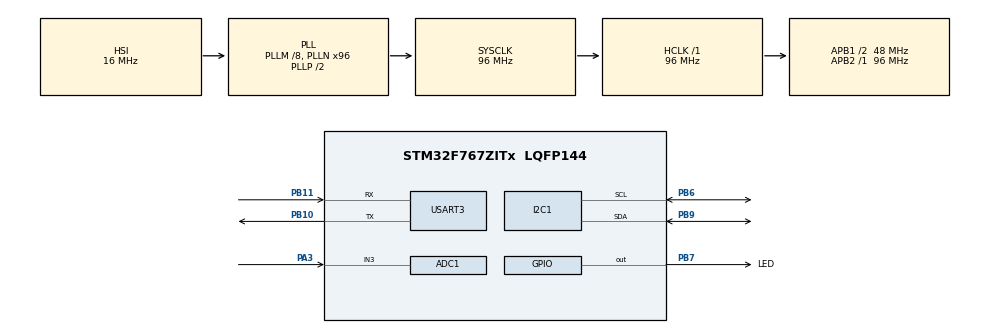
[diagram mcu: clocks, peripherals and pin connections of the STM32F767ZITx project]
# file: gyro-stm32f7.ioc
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ADC1.Channel-3\#ChannelRegularConversion=ADC_CHANNEL_3
ADC1.NbrOfConversionFlag=1
ADC1.Rank-3\#ChannelRegularConversion=1
ADC1.SamplingTime-3\#ChannelRegularConversion=ADC_SAMPLETIME_3CYCLES
ADC1.master=1
I2C1.Analog_Filter=I2C_ANALOGFILTER_ENABLE
I2C1.Timing=0x20303E5D
Mcu.Family=STM32F7
Mcu.Name=STM32F767ZITx
Mcu.Package=LQFP144
NVIC.ADC_IRQn=true\:0\:0\:false\:false\:true\:true\:true
NVIC.PriorityGroup=NVIC_PRIORITYGROUP_4
NVIC.TIM7_IRQn=true\:0\:0\:false\:false\:true\:true\:true
PA3.Signal=ADCx_IN3
PB10.Mode=Asynchronous
PB10.Signal=USART3_TX
PB11.Mode=Asynchronous
PB11.Signal=USART3_RX
PB6.Mode=I2C
PB6.Signal=I2C1_SCL
PB7.GPIO_Label=LED
PB7.GPIO_PuPd=GPIO_NOPULL
PB7.PinState=GPIO_PIN_RESET
PB7.Signal=GPIO_Output
PB9.Mode=I2C
PB9.Signal=I2C1_SDA
ProjectManager.HeapSize=0x2000
ProjectManager.StackSize=0x4000
ProjectManager.TargetToolchain=SW4STM32
RCC.48MHZClocksFreq_Value=24000000
RCC.AHBFreq_Value=96000000
RCC.APB1CLKDivider=RCC_HCLK_DIV2
RCC.APB1Freq_Value=48000000
RCC.APB1TimFreq_Value=96000000
RCC.APB2Freq_Value=96000000
RCC.APB2TimFreq_Value=96000000
RCC.CortexFreq_Value=96000000
RCC.HCLKFreq_Value=96000000
RCC.HSE_VALUE=8000000
RCC.HSI_VALUE=16000000
RCC.LSE_VALUE=32768
RCC.PLLM=8
RCC.PLLMUL=RCC_PLL_MUL9
RCC.PLLN=96
RCC.PLLQ=4
RCC.PRESCALERUSB=RCC_USBCLKSOURCE_PLL_DIV1_5
RCC.SYSCLKFreq_VALUE=96000000
RCC.SYSCLKSource=RCC_SYSCLKSOURCE_PLLCLK
RCC.SYSCLKSourceVirtual=RCC_SYSCLKSOURCE_PLLCLK
RCC.USBFreq_Value=48000000
RCC.VCOOutputFreq_Value=192000000
SH.ADCx_IN3.0=ADC1_IN3,IN3
TIM7.Period=1000
TIM7.Prescaler=9599
USART3.VirtualMode-Asynchronous=VM_ASYNC
VP_TIM7_VS_ClockSourceINT.Mode=Enable_Timer
board=NUCLEO-F767ZI

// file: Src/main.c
/* USER CODE BEGIN Header */
/**
  ******************************************************************************
  * @file           : main.c
  * @brief          : Main program body
  ******************************************************************************
  * @attention
  *
  * <h2><center>&copy; Copyright (c) 2019 STMicroelectronics.
  * All rights reserved.</center></h2>
  *
  * This software component is licensed by ST under BSD 3-Clause license,
  * the "License"; You may not use this file except in compliance with the
  * License. You may obtain a copy of the License at:
  *                        opensource.org/licenses/BSD-3-Clause
  *
  ******************************************************************************
  */
/* USER CODE END Header */

#include "main.h"

/* USER CODE BEGIN Includes */
#include "STLISY300AL.h"
#include "STL3GD20.h"
/* USER CODE END Includes */

ADC_HandleTypeDef hadc1;

I2C_HandleTypeDef hi2c1;

TIM_HandleTypeDef htim7;

UART_HandleTypeDef huart3;

/* USER CODE BEGIN PV */
Lisy300al analog_gyro;

L3gd20 i2c_gyro;

uint8_t write_data[100] = {};
/* USER CODE END PV */

void SystemClock_Config(void);
static void MX_GPIO_Init(void);
static void MX_ADC1_Init(void);
static void MX_USART3_UART_Init(void);
static void MX_TIM7_Init(void);
static void MX_GFXSIMULATOR_Init(void);
static void MX_I2C1_Init(void);

int main(void)
{

  /* MCU Configuration--------------------------------------------------------*/

  /* Reset of all peripherals, Initializes the Flash interface and the Systick. */
  HAL_Init();

  /* Configure the system clock */
  SystemClock_Config();

  /* Initialize all configured peripherals */
  MX_GPIO_Init();
  MX_ADC1_Init();
  MX_USART3_UART_Init();
  MX_TIM7_Init();
  MX_GFXSIMULATOR_Init();
  MX_I2C1_Init();
  /* USER CODE BEGIN 2 */
  STLISY300AL_Init(&analog_gyro, &hadc1, 30);
  STL3GD20_Init(&i2c_gyro, hi2c1, 250);
  /* USER CODE END 2 */

  /* Infinite loop */
  /* USER CODE BEGIN WHILE */

  //HAL_TIM_Base_Start_IT(&htim7);

  while (1)
  {
	  int32_t id = STL3GD20_WhoAmI(&i2c_gyro);
	  int32_t err = STL3GD20_Status(&i2c_gyro);
	  int32_t x = STL3GD20_GetX(&i2c_gyro);
	  int32_t y = STL3GD20_GetY(&i2c_gyro);
	  int32_t z = STL3GD20_GetZ(&i2c_gyro);
	  sprintf(write_data, "I2C addr %d\nError: %d\nAngle x: %d\nAngle y: %d\nAngle z: %d\r\n\n", id, err, x, y, z);
	  HAL_UART_Transmit(&huart3, write_data, 100, 100);
	  HAL_Delay(100);
    /* USER CODE END WHILE */

  }
}

void SystemClock_Config(void)
{
  RCC_OscInitTypeDef RCC_OscInitStruct = {0};
  RCC_ClkInitTypeDef RCC_ClkInitStruct = {0};
  RCC_PeriphCLKInitTypeDef PeriphClkInitStruct = {0};

  /** Configure the main internal regulator output voltage
  */
  __HAL_RCC_PWR_CLK_ENABLE();
  __HAL_PWR_VOLTAGESCALING_CONFIG(PWR_REGULATOR_VOLTAGE_SCALE3);
  /** Initializes the CPU, AHB and APB busses clocks
  */
  RCC_OscInitStruct.OscillatorType = RCC_OSCILLATORTYPE_HSI;
  RCC_OscInitStruct.HSIState = RCC_HSI_ON;
  RCC_OscInitStruct.HSICalibrationValue = RCC_HSICALIBRATION_DEFAULT;
  RCC_OscInitStruct.PLL.PLLState = RCC_PLL_ON;
  RCC_OscInitStruct.PLL.PLLSource = RCC_PLLSOURCE_HSI;
  RCC_OscInitStruct.PLL.PLLM = 8;
  RCC_OscInitStruct.PLL.PLLN = 96;
  RCC_OscInitStruct.PLL.PLLP = RCC_PLLP_DIV2;
  RCC_OscInitStruct.PLL.PLLQ = 4;
  if (HAL_RCC_OscConfig(&RCC_OscInitStruct) != HAL_OK)
  {
    Error_Handler();
  }
  /** Activate the Over-Drive mode
  */
  if (HAL_PWREx_EnableOverDrive() != HAL_OK)
  {
    Error_Handler();
  }
  /** Initializes the CPU, AHB and APB busses clocks
  */
  RCC_ClkInitStruct.ClockType = RCC_CLOCKTYPE_HCLK|RCC_CLOCKTYPE_SYSCLK
                              |RCC_CLOCKTYPE_PCLK1|RCC_CLOCKTYPE_PCLK2;
  RCC_ClkInitStruct.SYSCLKSource = RCC_SYSCLKSOURCE_PLLCLK;
  RCC_ClkInitStruct.AHBCLKDivider = RCC_SYSCLK_DIV1;
  RCC_ClkInitStruct.APB1CLKDivider = RCC_HCLK_DIV2;
  RCC_ClkInitStruct.APB2CLKDivider = RCC_HCLK_DIV1;

  if (HAL_RCC_ClockConfig(&RCC_ClkInitStruct, FLASH_LATENCY_3) != HAL_OK)
  {
    Error_Handler();
  }
  PeriphClkInitStruct.PeriphClockSelection = RCC_PERIPHCLK_USART3|RCC_PERIPHCLK_I2C1;
  PeriphClkInitStruct.Usart3ClockSelection = RCC_USART3CLKSOURCE_PCLK1;
  PeriphClkInitStruct.I2c1ClockSelection = RCC_I2C1CLKSOURCE_PCLK1;
  if (HAL_RCCEx_PeriphCLKConfig(&PeriphClkInitStruct) != HAL_OK)
  {
    Error_Handler();
  }
}

static void MX_ADC1_Init(void)
{

  ADC_ChannelConfTypeDef sConfig = {0};

  /** Configure the global features of the ADC (Clock, Resolution, Data Alignment and number of conversion)
  */
  hadc1.Instance = ADC1;
  hadc1.Init.ClockPrescaler = ADC_CLOCK_SYNC_PCLK_DIV4;
  hadc1.Init.Resolution = ADC_RESOLUTION_12B;
  hadc1.Init.ScanConvMode = DISABLE;
  hadc1.Init.ContinuousConvMode = DISABLE;
  hadc1.Init.DiscontinuousConvMode = DISABLE;
  hadc1.Init.ExternalTrigConvEdge = ADC_EXTERNALTRIGCONVEDGE_NONE;
  hadc1.Init.ExternalTrigConv = ADC_SOFTWARE_START;
  hadc1.Init.DataAlign = ADC_DATAALIGN_RIGHT;
  hadc1.Init.NbrOfConversion = 1;
  hadc1.Init.DMAContinuousRequests = DISABLE;
  hadc1.Init.EOCSelection = ADC_EOC_SINGLE_CONV;
  if (HAL_ADC_Init(&hadc1) != HAL_OK)
  {
    Error_Handler();
  }
  /** Configure for the selected ADC regular channel its corresponding rank in the sequencer and its sample time.
  */
  sConfig.Channel = ADC_CHANNEL_3;
  sConfig.Rank = ADC_REGULAR_RANK_1;
  sConfig.SamplingTime = ADC_SAMPLETIME_3CYCLES;
  if (HAL_ADC_ConfigChannel(&hadc1, &sConfig) != HAL_OK)
  {
    Error_Handler();
  }

}

static void MX_GFXSIMULATOR_Init(void)
{

}

static void MX_I2C1_Init(void)
{

  hi2c1.Instance = I2C1;
  hi2c1.Init.Timing = 0x20303E5D;
  hi2c1.Init.OwnAddress1 = 0;
  hi2c1.Init.AddressingMode = I2C_ADDRESSINGMODE_7BIT;
  hi2c1.Init.DualAddressMode = I2C_DUALADDRESS_DISABLE;
  hi2c1.Init.OwnAddress2 = 0;
  hi2c1.Init.OwnAddress2Masks = I2C_OA2_NOMASK;
  hi2c1.Init.GeneralCallMode = I2C_GENERALCALL_DISABLE;
  hi2c1.Init.NoStretchMode = I2C_NOSTRETCH_DISABLE;
  if (HAL_I2C_Init(&hi2c1) != HAL_OK)
  {
    Error_Handler();
  }
  /** Configure Analogue filter
  */
  if (HAL_I2CEx_ConfigAnalogFilter(&hi2c1, I2C_ANALOGFILTER_ENABLE) != HAL_OK)
  {
    Error_Handler();
  }
  /** Configure Digital filter
  */
  if (HAL_I2CEx_ConfigDigitalFilter(&hi2c1, 0) != HAL_OK)
  {
    Error_Handler();
  }

}

static void MX_TIM7_Init(void)
{huart3.Init.BaudRate = 115200;

  TIM_MasterConfigTypeDef sMasterConfig = {0};

  htim7.Instance = TIM7;
  htim7.Init.Prescaler = 9599;
  htim7.Init.CounterMode = TIM_COUNTERMODE_UP;
  htim7.Init.Period = 1000;
  htim7.Init.AutoReloadPreload = TIM_AUTORELOAD_PRELOAD_DISABLE;
  if (HAL_TIM_Base_Init(&htim7) != HAL_OK)
  {
    Error_Handler();
  }
  sMasterConfig.MasterOutputTrigger = TIM_TRGO_RESET;
  sMasterConfig.MasterSlaveMode = TIM_MASTERSLAVEMODE_DISABLE;
  if (HAL_TIMEx_MasterConfigSynchronization(&htim7, &sMasterConfig) != HAL_OK)
  {
    Error_Handler();
  }

}

static void MX_USART3_UART_Init(void)
{

  huart3.Instance = USART3;
//  huart3.Init.BaudRate = 115200;
  huart3.Init.BaudRate = 500000;
  huart3.Init.WordLength = UART_WORDLENGTH_8B;
  huart3.Init.StopBits = UART_STOPBITS_1;
  huart3.Init.Parity = UART_PARITY_NONE;
  huart3.Init.Mode = UART_MODE_TX_RX;
  huart3.Init.HwFlowCtl = UART_HWCONTROL_NONE;
  huart3.Init.OverSampling = UART_OVERSAMPLING_16;
  huart3.Init.OneBitSampling = UART_ONE_BIT_SAMPLE_DISABLE;
  huart3.AdvancedInit.AdvFeatureInit = UART_ADVFEATURE_NO_INIT;
  if (HAL_UART_Init(&huart3) != HAL_OK)
  {
    Error_Handler();
  }

}

static void MX_GPIO_Init(void)
{
  GPIO_InitTypeDef GPIO_InitStruct = {0};

  /* GPIO Ports Clock Enable */
  __HAL_RCC_GPIOA_CLK_ENABLE();
  __HAL_RCC_GPIOB_CLK_ENABLE();

  /*Configure GPIO pin Output Level */
  HAL_GPIO_WritePin(LED_GPIO_Port, LED_Pin, GPIO_PIN_RESET);

  /*Configure GPIO pin : LED_Pin */
  GPIO_InitStruct.Pin = LED_Pin;
  GPIO_InitStruct.Mode = GPIO_MODE_OUTPUT_PP;
  GPIO_InitStruct.Pull = GPIO_NOPULL;
  GPIO_InitStruct.Speed = GPIO_SPEED_FREQ_LOW;
  HAL_GPIO_Init(LED_GPIO_Port, &GPIO_InitStruct);

}

void Error_Handler(void)
{
}

/************************ (C) COPYRIGHT STMicroelectronics *****END OF FILE****/
